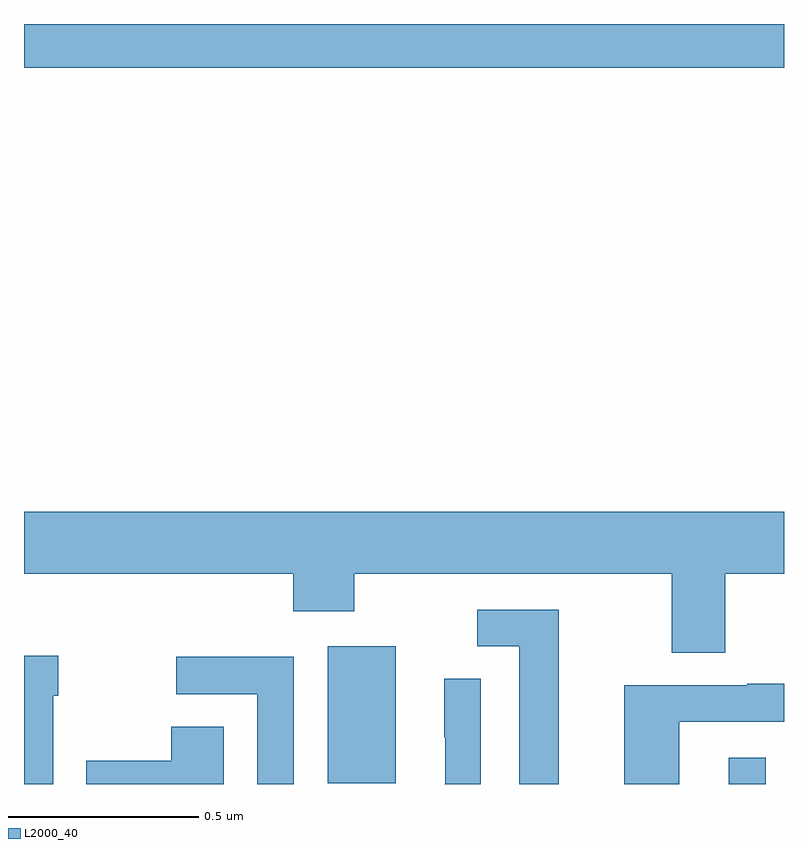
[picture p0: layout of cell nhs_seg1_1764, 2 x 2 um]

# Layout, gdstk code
import gdstk
lib = gdstk.Library(unit=1e-6, precision=1e-09)
def R(c, l, rs):  # rectangles x0, y0, x1, y1
    for r in rs: c.add(gdstk.rectangle(r[:2], r[2:], *l))
def P(c, l, *ps):  # polygons
    for p in ps: c.add(gdstk.Polygon(p, *l))
L2000_40 = (2000, 40)

nhs_seg1_1764 = lib.new_cell('nhs_seg1_1764')
R(nhs_seg1_1764, L2000_40, [(134.855,531.199,134.952,531.268), (133.799,531.201,133.978,531.562), (133,533.084,135,533.199)])
P(nhs_seg1_1764, L2000_40, [(134.845,531.752),(135,531.752),(135,531.916),(133,531.916),(133,531.752),(133.709,531.752),(133.709,531.653),(133.869,531.653),(133.869,531.752),(134.705,531.752),(134.705,531.544),(134.845,531.544)],
  [(134.407,531.657),(134.193,531.657),(134.193,531.561),(134.303,531.561),(134.303,531.199),(134.407,531.199)],
  [(133.077,531.431),(133.09,531.431),(133.09,531.536),(133,531.536),(133,531.199),(133.077,531.199)],
  [(133.71,531.534),(133.401,531.534),(133.401,531.435),(133.614,531.435),(133.614,531.199),(133.71,531.199)],
  [(134.202,531.476),(134.106,531.476),(134.106,531.322),(134.108,531.322),(134.108,531.2),(134.107,531.199),(134.202,531.199)],
  [(134.724,531.363),(135,531.363),(135,531.463),(134.903,531.463),(134.903,531.459),(134.579,531.459),(134.579,531.199),(134.724,531.199)],
  [(133.525,531.35),(133.387,531.35),(133.387,531.26),(133.164,531.26),(133.164,531.199),(133.525,531.199)])

lib.write_gds('nhs_seg1_1764.gds')
